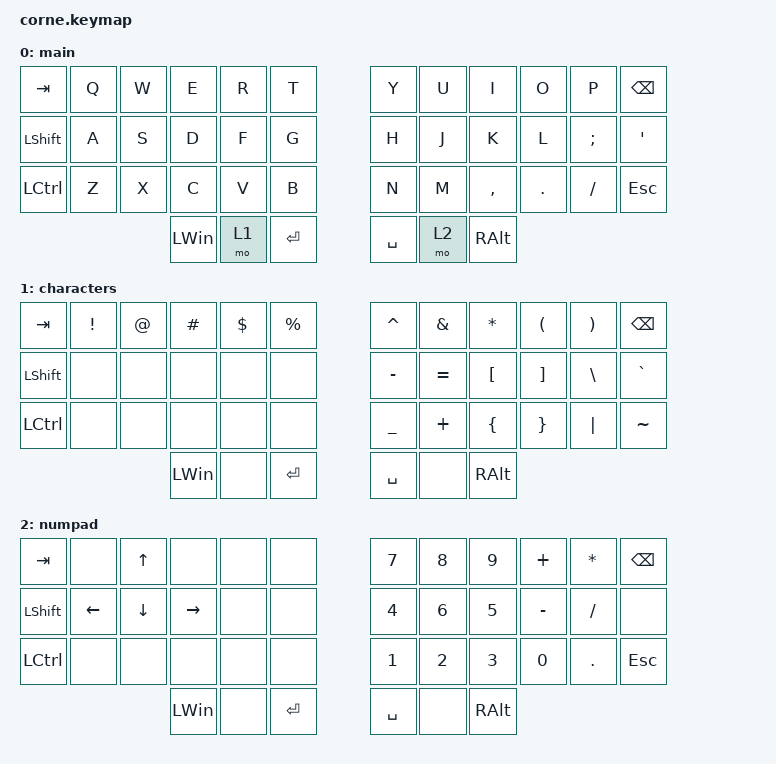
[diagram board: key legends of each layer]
#include <behaviors.dtsi>
#include <dt-bindings/zmk/keys.h>

/ {
    combos {
        compatible = "zmk,combos";

        tocharacters {
            bindings = <&to 1>;
            key-positions = <16 15 14>;
            layers = <0>;
        };

        tonumpad {
            bindings = <&to 2>;
            key-positions = <16 15 14>;
            layers = <1>;
        };

        tomain {
            bindings = <&to 0>;
            key-positions = <16 15 14>;
        };
    };

    keymap {
        compatible = "zmk,keymap";

        main {
            bindings = <
&kp TAB         &kp Q  &kp W  &kp E         &kp R  &kp T         &kp Y      &kp U  &kp I          &kp O    &kp P     &kp BACKSPACE
&kp LEFT_SHIFT  &kp A  &kp S  &kp D         &kp F  &kp G         &kp H      &kp J  &kp K          &kp L    &kp SEMI  &kp SQT
&kp LCTRL       &kp Z  &kp X  &kp C         &kp V  &kp B         &kp N      &kp M  &kp COMMA      &kp DOT  &kp FSLH  &kp ESCAPE
                              &kp LEFT_WIN  &mo 1  &kp RETURN    &kp SPACE  &mo 2  &kp RIGHT_ALT
            >;
        };

        characters {
            bindings = <
&kp TAB         &kp EXCL  &kp AT  &kp HASH      &kp DLLR  &kp PRCNT    &kp CARET  &kp AMPS   &kp ASTRK      &kp LPAR  &kp RPAR  &kp BACKSPACE
&kp LEFT_SHIFT  &none     &none   &none         &none     &none        &kp MINUS  &kp EQUAL  &kp LBKT       &kp RBKT  &kp BSLH  &kp GRAVE
&kp LCTRL       &none     &none   &none         &none     &none        &kp UNDER  &kp PLUS   &kp LBRC       &kp RBRC  &kp PIPE  &kp TILDE
                                  &kp LEFT_WIN  &none     &kp RET      &kp SPACE  &none      &kp RIGHT_ALT
            >;
        };

        numpad {
            bindings = <
&kp TAB         &none           &kp UP_ARROW    &none            &none  &none         &kp N7     &kp N8  &kp N9         &kp PLUS   &kp STAR  &kp BACKSPACE
&kp LEFT_SHIFT  &kp LEFT_ARROW  &kp DOWN_ARROW  &kp RIGHT_ARROW  &none  &none         &kp N4     &kp N6  &kp N5         &kp MINUS  &kp FSLH  &none
&kp LCTRL       &none           &none           &none            &none  &none         &kp N1     &kp N2  &kp N3         &kp N0     &kp DOT   &kp ESCAPE
                                                &kp LEFT_WIN     &none  &kp RETURN    &kp SPACE  &none   &kp RIGHT_ALT
            >;
        };
    };
};
